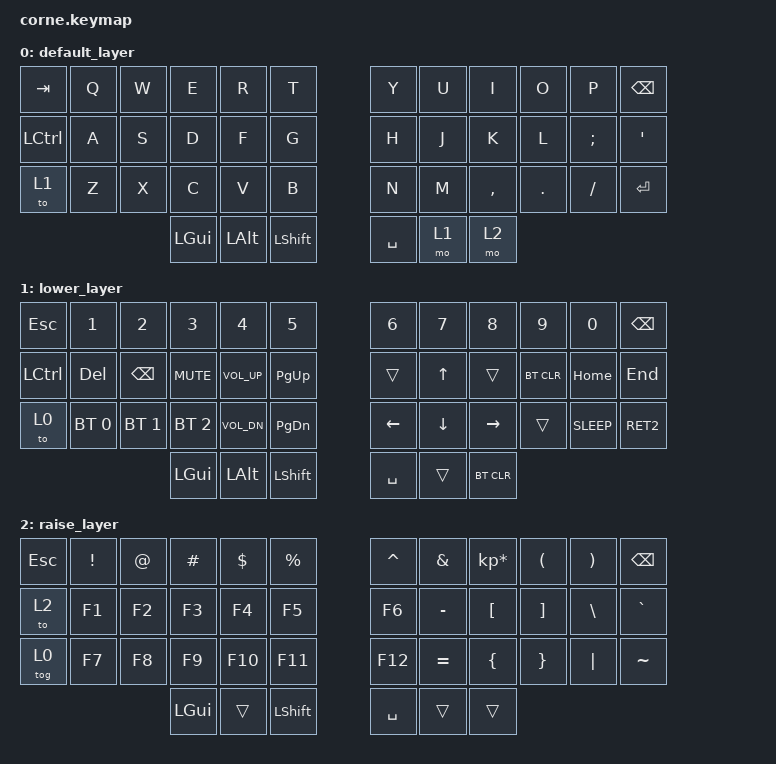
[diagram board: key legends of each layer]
/*
 * Copyright (c) 2020 The ZMK Contributors
 *
 * SPDX-License-Identifier: MIT
 */

#include <behaviors.dtsi>
#include <dt-bindings/zmk/bt.h>
#include <dt-bindings/zmk/keys.h>

/ {
    keymap {
        compatible = "zmk,keymap";

        default_layer {
            // -----------------------------------------------------------------------------------------
            // |  TAB |  Q  |  W  |  E  |  R  |  T  |   |  Y  |  U   |  I  |  O  |  P  | BKSP |
            // | CTRL |  A  |  S  |  D  |  F  |  G  |   |  H  |  J   |  K  |  L  |  ;  |  '   |
            // | SHFT |  Z  |  X  |  C  |  V  |  B  |   |  N  |  M   |  ,  |  .  |  /  | ESC  |
            //                    | GUI | LWR | SPC |   | ENT | RSE  | ALT |

            bindings = <
&kp TAB    &kp Q  &kp W  &kp E     &kp R     &kp T             &kp Y      &kp U  &kp I      &kp O    &kp P     &kp BSPC
&kp LCTRL  &kp A  &kp S  &kp D     &kp F     &kp G             &kp H      &kp J  &kp K      &kp L    &kp SEMI  &kp SQT
&to 1      &kp Z  &kp X  &kp C     &kp V     &kp B             &kp N      &kp M  &kp COMMA  &kp DOT  &kp FSLH  &kp RET
                         &kp LGUI  &kp LALT  &kp LEFT_SHIFT    &kp SPACE  &mo 1  &mo 2
            >;
        };

        lower_layer {
            // -----------------------------------------------------------------------------------------
            // |  TAB |  1  |  2  |  3  |  4  |  5  |   |  6  |  7  |  8  |  9  |  0  | BKSP |
            // | BTCLR| BT1 | BT2 | BT3 | BT4 | BT5 |   | LFT | DWN |  UP | RGT |     |      |
            // | SHFT |     |     |     |     |     |   |     |     |     |     |     |      |
            //                    | GUI |     | SPC |   | ENT |     | ALT |

            bindings = <
&kp ESCAPE  &kp NUMBER_1  &kp N2         &kp N3        &kp N4        &kp N5            &kp N6     &kp N7        &kp N8      &kp N9      &kp N0       &kp BSPC
&kp LCTRL   &kp DEL       &kp BACKSPACE  &kp K_MUTE    &kp C_VOL_UP  &kp PG_UP         &trans     &kp UP_ARROW  &trans      &bt BT_CLR  &kp HOME     &kp END
&to 0       &bt BT_SEL 0  &bt BT_SEL 1   &bt BT_SEL 2  &kp C_VOL_DN  &kp PG_DN         &kp LEFT   &kp DOWN      &kp RIGHT   &trans      &kp K_SLEEP  &kp RET2
                                         &kp LGUI      &kp LEFT_ALT  &kp LEFT_SHIFT    &kp SPACE  &trans        &bt BT_CLR
            >;
        };

        raise_layer {
            // -----------------------------------------------------------------------------------------
            // |  TAB |  !  |  @  |  #  |  $  |  %  |   |  ^  |  &  |  *  |  (  |  )  | BKSP |
            // | CTRL |     |     |     |     |     |   |  -  |  =  |  [  |  ]  |  \  |  `   |
            // | SHFT |     |     |     |     |     |   |  _  |  +  |  {  |  }  | "|" |  ~   |
            //                    | GUI |     | SPC |   | ENT |     | ALT |

            bindings = <
&kp ESC  &kp EXCL  &kp AT  &kp HASH  &kp DLLR  &kp PRCNT         &kp CARET  &kp AMPS   &kp KP_MULTIPLY  &kp LPAR  &kp RPAR  &kp BSPC
&to 2    &kp F1    &kp F2  &kp F3    &kp F4    &kp F5            &kp F6     &kp MINUS  &kp LBKT         &kp RBKT  &kp BSLH  &kp GRAVE
&tog 0   &kp F7    &kp F8  &kp F9    &kp F10   &kp F11           &kp F12    &kp EQUAL  &kp LBRC         &kp RBRC  &kp PIPE  &kp TILDE
                           &kp LGUI  &trans    &kp LEFT_SHIFT    &kp SPACE  &trans     &trans
            >;
        };
    };
};
